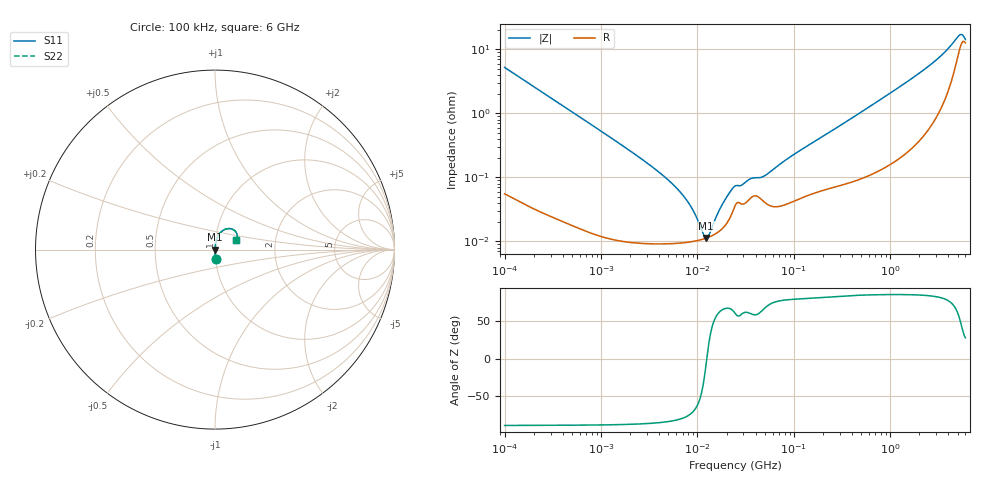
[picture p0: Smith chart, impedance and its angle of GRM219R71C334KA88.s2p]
!Murata Part Number: GRM219R71C334KA88
!These Parameters are Measured in Series Mode Connection
!Data Generated on Mar 30, 2021
!  o--ll--o
!Port1  Port2
!  o------o
!Operation Temp=25[degC], DC Bias Voltage=0[V]
!Freq. Start=100[kHz] Stop=6[GHz] 401[Steps]
# Hz S RI R 50
!Freq.(Hz) S11(Real) S11(Imag) S21(Real) S21(Imag) S12(Real) S12(Imag) S22(Real) S22(Imag)
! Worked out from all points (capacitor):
!   401 points, 100 kHz to 6 GHz, reference 50 ohm
!   read as one part in series: C = 303 nF near 105.7 kHz
!   lowest |Z| = 11.3 mohm at 12.32 MHz (marker M1)
!   series resonance near 12.49 MHz, so ESL is about 540 pH
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100000  0.00329 -0.0522  0.9967 0.0522  0.9967 0.0522  0.00329 -0.0522
631452  0.000223 -0.00838  0.9998 0.00838  0.9998 0.00838  0.000223 -0.00838
3987316  9.25e-05 -0.0012  0.9999 0.0012  0.9999 0.0012  9.25e-05 -0.0012
5701257  9.29e-05 -0.000744  0.9999 0.000744  0.9999 0.000744  9.29e-05 -0.000744
7506273  9.58e-05 -0.000457  0.9999 0.000457  0.9999 0.000457  9.58e-05 -0.000457
9100013  9.99e-05 -0.000278  0.9999 0.000278  0.9999 0.000278  9.99e-05 -0.000278
1.133979e7  0.000108 -8.44e-05  0.9999 8.44e-05  0.9999 8.44e-05  0.000108 -8.44e-05
1.231519e7  0.000112 -1.25e-05  0.9999 1.25e-05  0.9999 1.25e-05  0.000112 -1.25e-05
1.337449e7  0.000118 6e-05  0.9999 -6e-05  0.9999 -6e-05  0.000118 6e-05
1.621418e7  0.000138 0.000236  0.9999 -0.000236  0.9999 -0.000236  0.000138 0.000236
1.912349e7  0.000173 0.000401  0.9998 -0.000401  0.9998 -0.000401  0.000173 0.000401
2.255483e7  0.000263 0.000583  0.9997 -0.000583  0.9997 -0.000583  0.000263 0.000583
2.517799e7  0.000386 0.000637  0.9996 -0.000637  0.9996 -0.000637  0.000386 0.000637
2.889002e7  0.000382 0.000656  0.9996 -0.000656  0.9996 -0.000656  0.000382 0.000656
3.60007e7  0.000482 0.000831  0.9995 -0.000831  0.9995 -0.000831  0.000482 0.000831
5.007898e7  0.000404 0.000986  0.9996 -0.000986  0.9996 -0.000986  0.000404 0.000986
1.546735e8  0.000562 0.00341  0.9994 -0.00341  0.9994 -0.00341  0.000562 0.00341
9.76689e8  0.00196 0.0202  0.998 -0.0202  0.998 -0.0202  0.00196 0.0202
2.702311e9  0.0102 0.0589  0.9898 -0.0589  0.9898 -0.0589  0.0102 0.0589
4.082404e9  0.0346 0.0989  0.9654 -0.0989  0.9654 -0.0989  0.0346 0.0989
5.087202e9  0.0934 0.1149  0.9066 -0.1149  0.9066 -0.1149  0.0934 0.1149
6e9  0.1153 0.0524  0.8847 -0.0524  0.8847 -0.0524  0.1153 0.0524
